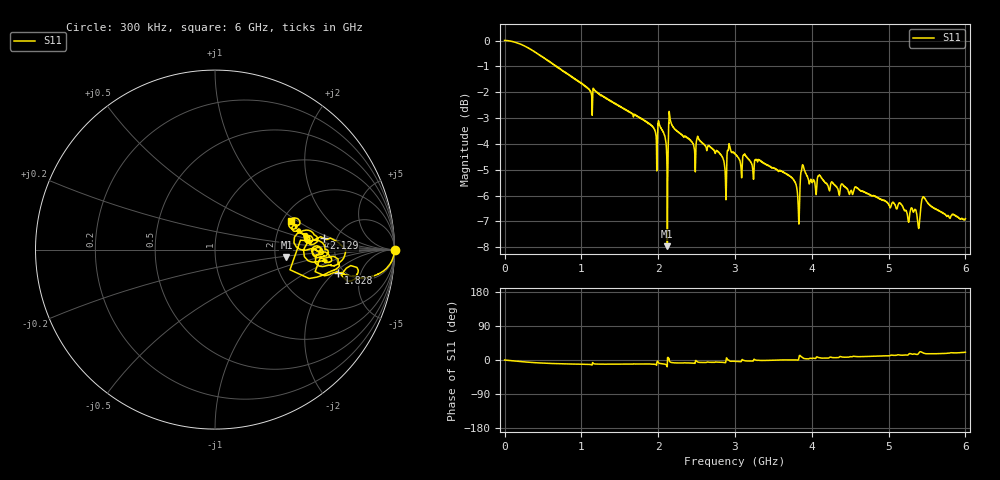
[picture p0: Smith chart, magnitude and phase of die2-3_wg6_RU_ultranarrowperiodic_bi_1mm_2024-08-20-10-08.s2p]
!Keysight Technologies,P9374A,MY57304198,A.17.20.09
!Date: Tuesday, August 20, 2024 10:08:59
!Correction: S11(C  1-Port  )
!S21(C  1-Port  )
!S12(Off)
!S22(Off)
!S2P File: Measurements: S11, S21, S12, S22:
# Hz S  dB  R 50
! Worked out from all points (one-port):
!   6000 points, 300 kHz to 6 GHz, reference 50 ohm
!   lowest |S11| = -8.0 dB at 2.12 GHz (marker M1), VSWR 2.33, Z = 115 - j11.8 ohm
!   |S11| at or under -10 dB: nowhere
!   S11 on the Smith chart (normalised r, x): 300 kHz: open; 1.828 GHz: 4.49, -2.24; 2.129 GHz: 3.95, +0.80; 6 GHz: 2.22, +0.89
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300000  0.00 -0.0  -200.00 45.0  -200.00 45.0  -200.00 45.0
4.363509e8  -0.52 -7.5  -200.00 45.0  -200.00 45.0  -200.00 45.0
1.000417e9  -1.67 -11.1  -200.00 45.0  -200.00 45.0  -200.00 45.0
1.827513e9  -3.10 -10.5  -200.00 45.0  -200.00 45.0  -200.00 45.0
2.000533e9  -3.24 -6.0  -200.00 45.0  -200.00 45.0  -200.00 45.0
2.088544e9  -3.72 -11.0  -200.00 45.0  -200.00 45.0  -200.00 45.0
2.119547e9  -7.96 -6.2  -200.00 45.0  -200.00 45.0  -200.00 45.0
2.128548e9  -4.30 6.0  -200.00 45.0  -200.00 45.0  -200.00 45.0
2.165553e9  -3.15 -6.2  -200.00 45.0  -200.00 45.0  -200.00 45.0
2.449586e9  -3.98 -8.0  -200.00 45.0  -200.00 45.0  -200.00 45.0
2.781625e9  -4.31 -5.8  -200.00 45.0  -200.00 45.0  -200.00 45.0
2.862634e9  -4.81 -6.8  -200.00 45.0  -200.00 45.0  -200.00 45.0
2.91064e9  -4.26 0.1  -200.00 45.0  -200.00 45.0  -200.00 45.0
3.00065e9  -4.37 -3.6  -200.00 45.0  -200.00 45.0  -200.00 45.0
3.710733e9  -5.25 0.6  -200.00 45.0  -200.00 45.0  -200.00 45.0
3.819746e9  -6.19 -0.3  -200.00 45.0  -200.00 45.0  -200.00 45.0
3.885753e9  -4.83 5.2  -200.00 45.0  -200.00 45.0  -200.00 45.0
4.000767e9  -5.49 4.1  -200.00 45.0  -200.00 45.0  -200.00 45.0
5.000883e9  -6.35 11.1  -200.00 45.0  -200.00 45.0  -200.00 45.0
5.363926e9  -6.69 14.6  -200.00 45.0  -200.00 45.0  -200.00 45.0
5.428933e9  -6.24 20.9  -200.00 45.0  -200.00 45.0  -200.00 45.0
6e9  -6.89 20.6  -200.00 45.0  -200.00 45.0  -200.00 45.0
